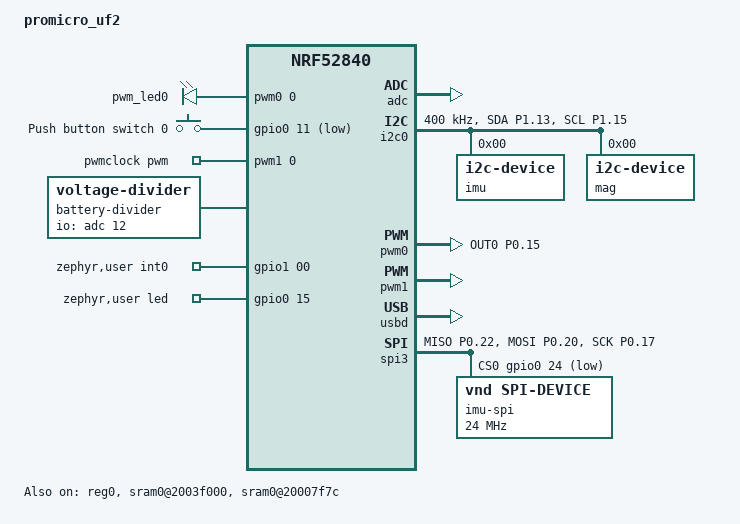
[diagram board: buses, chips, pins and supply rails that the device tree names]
// Copyright (c) 2024 Nordic Semiconductor ASA
// SPDX-License-Identifier: Apache-2.0

/dts-v1/;
#include <nordic/nrf52840_qiaa.dtsi>

//move to dtsi?
/ {
	sram0@2003f000 {
		compatible = "zephyr,memory-region", "mmio-sram";
		reg = <0x2003f000 DT_SIZE_K(4)>;
		zephyr,memory-region = "RETAINED_MEM";
		status = "okay";

		retainedmem0: retainedmem {
			compatible = "zephyr,retained-ram";
			status = "okay";
		};
	};

	sram0@20007f7c {
		compatible = "zephyr,memory-region", "mmio-sram";
		reg = <0x20007f7c 4>;
		zephyr,memory-region = "DFU_DBL_RESET_MEM";
		status = "okay";

		retainedmem {
			compatible = "zephyr,retained-ram";
			status = "okay";
		};
	};

	aliases {
		retainedmemdevice = &retainedmem0;
	};
};

&sram0 {
	/* Shrink SRAM size to avoid overlap with retained memory region */
	reg = <0x20000000 DT_SIZE_K(252)>;
};

&pinctrl {
	i2c0_default: i2c0_default {
		group1 {
			psels = <NRF_PSEL(TWIM_SDA, 1, 13)>, <NRF_PSEL(TWIM_SCL, 1, 15)>;
			bias-disable;
		};
	};

	i2c0_sleep: i2c0_sleep {
		group1 {
			psels = <NRF_PSEL(TWIM_SDA, 1, 13)>, <NRF_PSEL(TWIM_SCL, 1, 15)>;
			bias-disable;
			low-power-enable;
		};
	};

	pwm0_default: pwm0_default {
		group1 {
			psels = <NRF_PSEL(PWM_OUT0, 0, 15)>;
			nordic,drive-mode = <NRF_DRIVE_D0S1>;
		};
	};

	pwm0_sleep: pwm0_sleep {
		group1 {
			psels = <NRF_PSEL(PWM_OUT0, 0, 15)>;
			low-power-enable;
		};
	};

	pwm1_default: pwm1_default {
		group1 {
			psels = <NRF_PIN_DISCONNECTED>;
		};
	};

	pwm1_sleep: pwm1_sleep {
		group1 {
			psels = <NRF_PIN_DISCONNECTED>;
			low-power-enable;
		};
	};

	spi3_default: spi3_default {
		group1 {
			psels = <NRF_PSEL(SPIM_MISO, 0, 22)>,
					<NRF_PSEL(SPIM_MOSI, 0, 20)>,
					<NRF_PSEL(SPIM_SCK, 0, 17)>;
		};
	};

	spi3_sleep: spi3_sleep {
		group1 {
			psels = <NRF_PSEL(SPIM_MISO, 0, 22)>,
					<NRF_PSEL(SPIM_MOSI, 0, 20)>,
					<NRF_PSEL(SPIM_SCK, 0, 17)>;
			low-power-enable;
		};
	};
};
//end

/ {
	model = "promicro_uf2";
	compatible = "promicro_uf2";

	chosen {
		zephyr,sram = &sram0;
		zephyr,flash = &flash0;
		zephyr,console = &cdc_acm_uart0;
		zephyr,shell-uart = &cdc_acm_uart0;
	};

	pwmleds {
		compatible = "pwm-leds";
		pwm_led0: pwm_led_0 {
			pwms = <&pwm0 0 PWM_MSEC(1) PWM_POLARITY_NORMAL>;
		};
	};

	buttons {
		compatible = "gpio-keys";
		button0: button_0 {
			gpios = <&gpio0 11 (GPIO_PULL_UP | GPIO_ACTIVE_LOW)>;
			label = "Push button switch 0";
		};
	};

	aliases {
		// sw0 = &button0; // Uncomment to Enable SW0
		pwm-led0 = &pwm_led0;
	};

	pwmclock: pwmclock {
		compatible = "pwm-clock";
		#clock-cells = <1>;
		pwms = <&pwm1 0 PWM_HZ(32768) PWM_POLARITY_NORMAL>;
	};

	battery-divider {
		compatible = "voltage-divider";
		status = "okay";
		io-channels = <&adc 12>; // Measure VDDHDIV5
		output-ohms = <1>;
		full-ohms = <5>;
	};

	zephyr,user {
		int0-gpios = <&gpio1 00 0>;
		led-gpios = <&gpio0 15 GPIO_OPEN_SOURCE>;
		// clk-gpios = <&gpio0 20 GPIO_OPEN_DRAIN>; // Uncomment and set to correct pin if using an external clock (crystal oscillator)
	};

};

&reg0 {
	status = "okay";
};

&reg1 {
	regulator-initial-mode = <NRF5X_REG_MODE_DCDC>;
};

&adc {
	status = "okay";
};

&gpiote {
	status = "okay";
};

&gpio0 {
	status = "okay";
};

&gpio1 {
	status = "okay";
};

&i2c0 {
	compatible = "nordic,nrf-twim";
	status = "okay";
	zephyr,concat-buf-size = <1023>;
	zephyr,flash-buf-max-size = <1023>;
	clock-frequency = <I2C_BITRATE_FAST>;
	pinctrl-0 = <&i2c0_default>;
	pinctrl-1 = <&i2c0_sleep>;
	pinctrl-names = "default", "sleep";

	imu: imu@0 { // any address out of range (00, 7f, etc. will search all addresses and stored address first if available, specify an address here to search first otherwise
		compatible = "i2c-device";
		label = "imu";
		reg = <0>;
	};

	mag: mag@0 {
		compatible = "i2c-device";
		label = "mag";
		reg = <0>;
	};

};

&pwm0 {
	status = "okay";
	pinctrl-0 = <&pwm0_default>;
	pinctrl-1 = <&pwm0_sleep>;
	pinctrl-names = "default", "sleep";
};

&pwm1 {
	status = "okay";
	pinctrl-0 = <&pwm1_default>;
	pinctrl-1 = <&pwm1_sleep>;
	pinctrl-names = "default", "sleep";
};

zephyr_udc0: &usbd {
	compatible = "nordic,nrf-usbd";
	status = "okay";
	cdc_acm_uart0: cdc_acm_uart0 {
		compatible = "zephyr,cdc-acm-uart";
	};
};

&cryptocell {
	status = "disabled";
};

&nfct {
	status = "disabled";
};

&spi3 {
	compatible = "nordic,nrf-spim";
	status = "okay";
	max-frequency = <DT_FREQ_M(24)>;
	pinctrl-0 = <&spi3_default>;
	pinctrl-1 = <&spi3_sleep>;
	pinctrl-names = "default", "sleep";
	cs-gpios = <&gpio0 24 GPIO_ACTIVE_LOW>;

	imu_spi: imu_spi@0 {
		compatible = "vnd,spi-device";
		spi-max-frequency = <DT_FREQ_M(24)>;
		label = "imu-spi";
		reg = <0>;
	};
};

